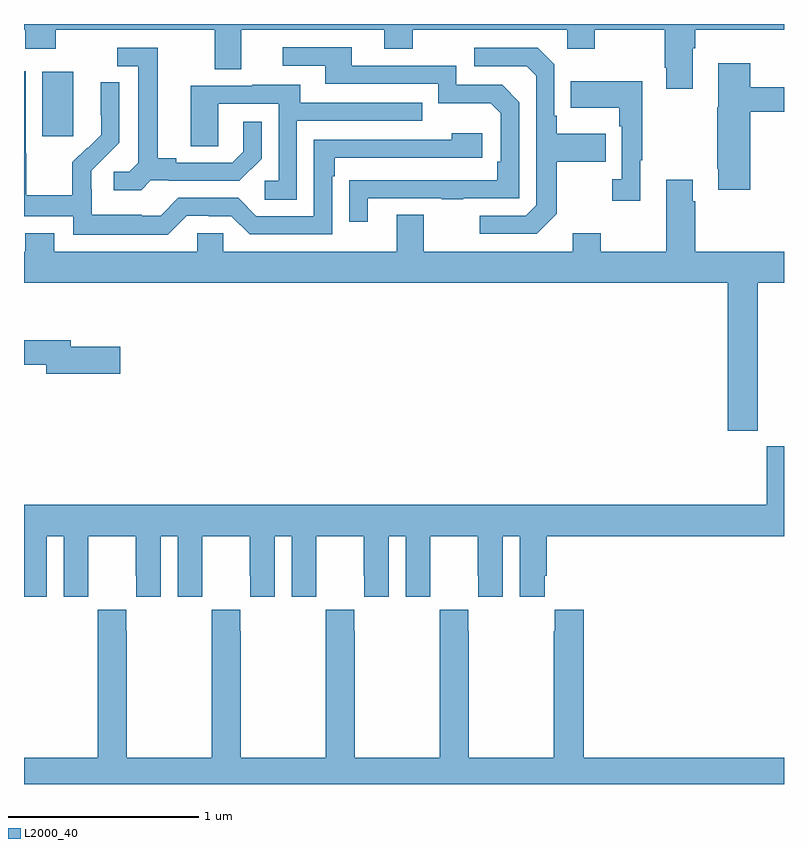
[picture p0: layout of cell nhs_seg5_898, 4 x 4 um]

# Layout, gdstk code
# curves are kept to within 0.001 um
import gdstk
lib = gdstk.Library(unit=1e-6, precision=1e-09)
def R(c, l, rs):  # rectangles x0, y0, x1, y1
    for r in rs: c.add(gdstk.rectangle(r[:2], r[2:], *l))
def P(c, l, *ps):  # polygons
    for p in ps: c.add(gdstk.Polygon(p, *l))
L2000_40 = (2000, 40)

nhs_seg5_898 = lib.new_cell('nhs_seg5_898')
R(nhs_seg5_898, L2000_40, [(169.097,848.208,169.258,848.548)])
P(nhs_seg5_898, L2000_40, [(172.519,848.672),(172.532,848.672),(172.532,848.768),(173,848.768),(173,848.799),(169,848.799),(169,848.768),(169.007,848.768),(169.007,848.669),(169.167,848.669),(169.167,848.768),(170.003,848.768),(170.003,848.56),(170.143,848.56),(170.143,848.768),(170.897,848.768),(170.897,848.669),(171.045,848.669),(171.045,848.768),(171.858,848.768),(171.858,848.669),(172.005,848.669),(172.005,848.768),(172.372,848.768),(172.372,848.569),(172.379,848.569),(172.379,848.457),(172.519,848.457)],
  [(170.809,847.881),(171.199,847.881),(171.199,847.876),(171.311,847.876),(171.311,847.881),(171.606,847.881),(171.606,848.388),(171.516,848.478),(171.276,848.478),(171.276,848.58),(170.725,848.58),(170.725,848.676),(170.361,848.676),(170.361,848.58),(170.585,848.58),(170.585,848.484),(171.18,848.484),(171.18,848.381),(171.457,848.381),(171.51,848.328),(171.51,848.074),(171.49,848.074),(171.49,847.977),(170.713,847.976),(170.713,847.758),(170.809,847.758)],
  [(169.668,847.977),(169.762,847.977),(169.762,847.974),(170.134,847.974),(170.25,848.09),(170.25,848.284),(170.153,848.284),(170.153,848.127),(170.096,848.07),(169.801,848.07),(169.801,848.093),(169.705,848.093),(169.705,848.673),(169.491,848.673),(169.491,848.577),(169.601,848.577),(169.601,848.069),(169.554,848.022),(169.473,848.022),(169.473,847.925),(169.616,847.925)],
  [(171.805,847.801),(171.805,848.074),(172.061,848.074),(172.061,848.221),(171.805,848.221),(171.805,848.317),(171.792,848.317),(171.792,848.586),(171.705,848.673),(171.369,848.673),(171.369,848.577),(171.645,848.577),(171.696,848.526),(171.696,847.845),(171.642,847.791),(171.399,847.791),(171.399,847.695),(171.699,847.695)],
  [(172.823,848.338),(173,848.338),(173,848.467),(172.823,848.467),(172.823,848.593),(172.655,848.593),(172.655,848.361),(172.648,848.361),(172.648,848.038),(172.655,848.038),(172.655,847.926),(172.823,847.926)],
  [(169.857,847.791),(169.973,847.791),(169.973,847.788),(170.091,847.788),(170.187,847.692),(170.622,847.692),(170.622,847.997),(170.635,847.997),(170.635,848.094),(171.412,848.094),(171.412,848.224),(171.251,848.224),(171.251,848.19),(170.526,848.19),(170.526,847.788),(170.223,847.788),(170.127,847.884),(169.812,847.884),(169.719,847.791),(169.619,847.791),(169.619,847.795),(169.356,847.795),(169.356,847.929),(169.354,847.929),(169.354,848.026),(169.5,848.174),(169.5,848.492),(169.403,848.492),(169.403,848.32),(169.406,848.32),(169.406,848.216),(169.335,848.145),(169.332,848.148),(169.255,848.071),(169.255,847.897),(169.011,847.897),(169.011,848.12),(169.008,848.12),(169.008,848.55),(169,848.55),(169,847.788),(169.26,847.788),(169.26,847.691),(169.757,847.691)],
  [(172.243,848.081),(172.255,848.081),(172.255,848.497),(171.877,848.497),(171.877,848.357),(172.134,848.357),(172.134,848.261),(172.146,848.261),(172.146,847.982),(172.095,847.982),(172.095,847.869),(172.243,847.869)],
  [(170.436,848.289),(171.095,848.289),(171.095,848.385),(170.455,848.385),(170.455,848.479),(170.201,848.479),(170.201,848.475),(169.877,848.475),(169.877,848.155),(170.022,848.155),(170.022,848.379),(170.34,848.379),(170.34,847.974),(170.268,847.974),(170.268,847.873),(170.436,847.873)],
  [(172.863,847.436),(173,847.436),(173,847.6),(172.532,847.6),(172.532,847.865),(172.519,847.865),(172.519,847.978),(172.379,847.978),(172.379,847.6),(172.035,847.6),(172.035,847.699),(171.887,847.699),(171.887,847.6),(171.103,847.6),(171.103,847.795),(170.963,847.795),(170.963,847.6),(170.049,847.6),(170.049,847.698),(169.911,847.698),(169.911,847.6),(169.159,847.6),(169.159,847.699),(169.007,847.699),(169.007,847.6),(169,847.6),(169,847.436),(172.703,847.436),(172.703,846.657),(172.863,846.657)],
  [(169.507,847.101),(169.246,847.101),(169.246,847.135),(169,847.135),(169,847.006),(169.118,847.006),(169.118,846.959),(169.507,846.959)],
  [(169.12,846.104),(169.208,846.104),(169.208,845.784),(169.338,845.784),(169.338,845.896),(169.339,845.896),(169.339,846.104),(169.589,846.104),(169.589,845.896),(169.59,845.896),(169.59,845.784),(169.72,845.784),(169.72,846.104),(169.808,846.104),(169.808,845.784),(169.938,845.784),(169.938,845.896),(169.939,845.896),(169.939,846.104),(170.189,846.104),(170.189,845.896),(170.19,845.896),(170.19,845.784),(170.32,845.784),(170.32,846.104),(170.408,846.104),(170.408,845.784),(170.538,845.784),(170.538,845.896),(170.539,845.896),(170.539,846.104),(170.789,846.104),(170.789,845.896),(170.79,845.896),(170.79,845.784),(170.92,845.784),(170.92,846.104),(171.008,846.104),(171.008,845.784),(171.138,845.784),(171.138,845.896),(171.139,845.896),(171.139,846.104),(171.389,846.104),(171.389,845.896),(171.39,845.896),(171.39,845.784),(171.52,845.784),(171.52,846.104),(171.608,846.104),(171.608,845.784),(171.742,845.784),(171.742,845.896),(171.752,845.896),(171.752,846.104),(173,846.104),(173,846.577),(172.91,846.577),(172.91,846.268),(169,846.268),(169,845.784),(169.12,845.784)],
  [(173,844.936),(171.947,844.936),(171.947,845.716),(171.793,845.716),(171.793,845.603),(171.787,845.603),(171.787,844.936),(171.342,844.936),(171.342,845.603),(171.339,845.603),(171.339,845.716),(171.189,845.716),(171.189,845.603),(171.187,845.603),(171.187,844.936),(170.742,844.936),(170.742,845.603),(170.739,845.603),(170.739,845.716),(170.589,845.716),(170.589,845.603),(170.587,845.603),(170.587,844.936),(170.142,844.936),(170.142,845.603),(170.139,845.603),(170.139,845.716),(169.989,845.716),(169.989,845.603),(169.987,845.603),(169.987,844.936),(169.542,844.936),(169.542,845.603),(169.539,845.603),(169.539,845.716),(169.389,845.716),(169.389,845.603),(169.387,845.603),(169.387,844.936),(169,844.936),(169,844.799),(173,844.799)])

lib.write_gds('nhs_seg5_898.gds')
